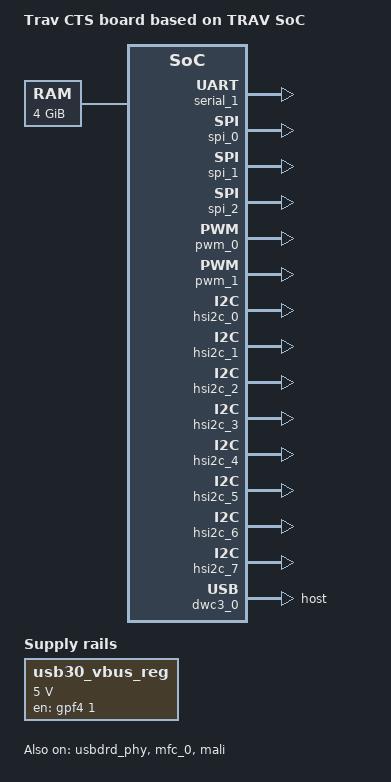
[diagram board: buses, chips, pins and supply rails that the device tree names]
/*
 * TURBO TRAV CTS EVALUATION board device tree source
 *
 * Copyright (c) 2017 Samsung Electronics Co., Ltd.
 *		http://www.samsung.com
 *
 * This program is free software; you can redistribute it and/or modify
 * it under the terms of the GNU General Public License version 2 as
 * published by the Free Software Foundation.
 */

/dts-v1/;
#include "turbo-trav.dtsi"
#include <dt-bindings/gpio/gpio.h>

/ {
	model = "Trav CTS board based on TRAV SoC";
	compatible = "turbo,trav-eval", "turbo,trav";

	aliases {
		serial1 = &serial_1;
	};

	chosen {
		linux,initrd-start = <0xE0000000>;
		linux,initrd-end = <0xE4F00000>;
		bootargs = "console=ttySAC1,115200n8 clk_ignore_unused
			earlycon=exynos4210,0x14190000 root=/dev/ram0 rw
			init=/linuxrc max_loop=1";
		stdout-path = &serial_1;
	};

	memory@80000000 {
		device_type = "memory";
		/* expose 2GB RAM to kernel */
		reg = <0x0 0x80000000 0x1 0x00000000>;
	};

	usb30_vbus_reg: regulator-usb30 {
		compatible = "regulator-fixed";
		regulator-name = "VBUS_5V";
		regulator-min-microvolt = <5000000>;
		regulator-max-microvolt = <5000000>;
		gpio = <&gpf4 1 GPIO_ACTIVE_HIGH>;
		pinctrl-names = "default";
		pinctrl-0 = <&usb30_vbus_en>;
		enable-active-high;
	};
};

&fin_pll {
	clock-frequency = <24000000>;
};

&serial_1 {
	status = "okay";
};

&clock_cmu {
	status = "okay";
};

&clock_imem {
	status = "okay";
};

&clock_cpucl {
	status = "okay";
};

&clock_peric {
	status = "okay";
};

&clock_fsys0 {
	status = "okay";
};

&clock_mfc {
	status = "okay";
};

&smmu_peric {
	status = "okay";
};

&smmu_imem {
	status = "okay";
};

&smmu_fsys0 {
	status = "okay";
};

&mdma0 {
	status = "okay";
};

&mdma1 {
	status = "okay";
};

&pdma0 {
	status = "okay";
};

&pdma1 {
	status = "okay";
};

&spi_0 {
	status = "okay";
};

&spi_1 {
	status = "okay";
};

&spi_2 {
	status = "okay";
};

&pwm_0 {
	status = "okay";
};

&pwm_1 {
	status = "okay";
};

&hsi2c_0 {
	status = "okay";
};

&hsi2c_1 {
	status = "okay";
};

&hsi2c_2 {
	status = "okay";
};

&hsi2c_3 {
	status = "okay";
};

&hsi2c_4 {
	status = "okay";
};

&hsi2c_5 {
	status = "okay";
};

&hsi2c_6 {
	status = "okay";
};

&hsi2c_7 {
	status = "okay";
};

&usbdrd_phy {
	vbus-supply = <&usb30_vbus_reg>;
	status = "okay";
};

&dwc3_0 {
	dr_mode = "host";
	status = "okay";
};

&mfc_0 {
	status = "okay";
};

&clock_gpu {
	status = "okay";
};

&mali {
	status = "okay";
};
